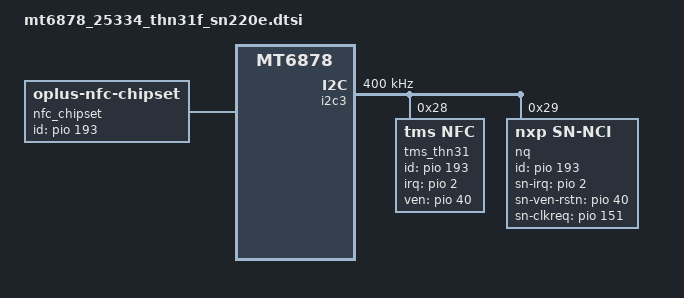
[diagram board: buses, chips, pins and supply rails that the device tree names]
/**********************************************************************************
* Copyright (c)  2008-2020  Guangdong oplus Mobile Comm Corp., Ltd
*
***********************************************************************************/
&pio {
    nfcid_default: nfcid_default {
        pins_cmd_dat  {
            pinmux = <PINMUX_GPIO193__FUNC_GPIO193>;
            input-enable;
            bias-disable;
        };
    };

    nfcid_pullup: nfcid_pullup {
        pins_cmd_dat  {
            pinmux = <PINMUX_GPIO193__FUNC_GPIO193>;
            input-enable;
            bias-pull-up=<MTK_PUPD_SET_R1R0_10>;
        };
    };

    nfcid_pulldown: nfcid_pulldown {
        pins_cmd_dat  {
            pinmux = <PINMUX_GPIO193__FUNC_GPIO193>;
            input-enable;
            bias-pull-down=<MTK_PUPD_SET_R1R0_10>;
        };
    };
};

&odm {
    nfc_chipset:nfc_chipset {
        compatible = "oplus-nfc-chipset";
        mixed-chipset = <1>;
        id-gpio = <&pio 193 0x00>;
        id_count = <3>;
        id-0-key = <0>;
        id-0-value-chipset = "none";
        id-0-value-manifest-path = "/odm/etc/vintf/manifest_empty.xml";
        id-0-value-feature-path = "/odm/etc/feature_empty.xml";
        id-1-key = <1>;
        id-1-value-chipset = "THN31";
        id-1-value-manifest-path = "/odm/etc/vintf/manifest_nfc_thn31.xml";
        id-1-value-feature-path = "/odm/etc/com.oplus.nfc_feature_thn31.xml";
        id-2-key = <2>;
        id-2-value-chipset = "SN220E";
        id-2-value-manifest-path = "/odm/etc/vintf/manifest_nfc_sn220.xml";
        id-2-value-feature-path = "/odm/etc/com.oplus.nfc_feature_sn220.xml";
        pinctrl-names = "nfcid_default", "nfcid_pullup", "nfcid_pulldown";
        pinctrl-0 = <&nfcid_default>;
        pinctrl-1 = <&nfcid_pullup>;
        pinctrl-2 = <&nfcid_pulldown>;
    };
};

&i2c3 {
    status = "okay";
    clock-frequency = <400000>;
    tms_thn31@28 {
        compatible = "tms,nfc";
        mixed-chipset = <1>;
        id-gpio = <&pio 193 0x00>;
        id_count = <3>;
        id-0-key = <0>;
        id-0-value-chipset = "none";
        id-1-key = <1>;
        id-1-value-chipset = "THN31";
        id-2-key = <2>;
        id-2-value-chipset = "SN220E";

        reg = <0x28>;
        tms,irq-gpio = <&pio 2 0x0>;
        tms,ven-gpio = <&pio 40 0x0>;
        //tms,download-gpio = <&pio 29 0x0>;
        interrupt-parent = <&pio>;
    };
};

&i2c3 {
    status = "okay";
    clock-frequency = <400000>;
    nq@29 {
        compatible = "nxp,sn-nci";
        mixed-chipset = <1>;
        id-gpio = <&pio 193 0x00>;
        id_count = <3>;
        id-0-key = <0>;
        id-0-value-chipset = "none";
        id-1-key = <1>;
        id-1-value-chipset = "THN31";
        id-2-key = <2>;
        id-2-value-chipset = "SN220E";

        reg = <0x29>;
        nxp,sn-irq = <&pio 2 0x0>;
        nxp,sn-ven-rstn = <&pio 40 0x0>;
        nxp,sn-clkreq = <&pio 151 0x0>;
        interrupt-parent = <&pio>;
    };
};

